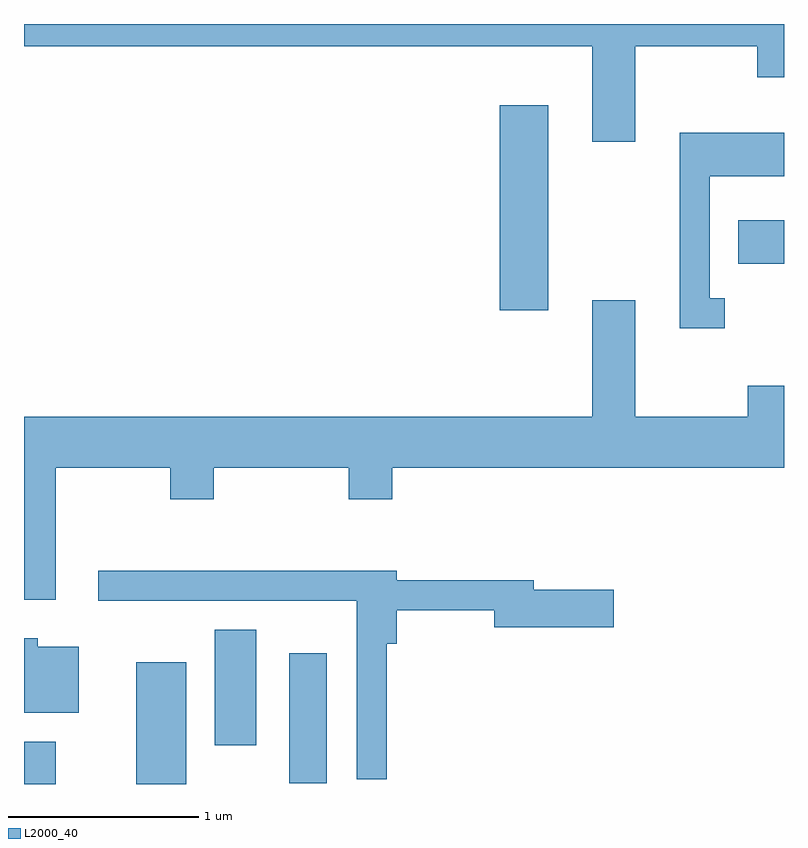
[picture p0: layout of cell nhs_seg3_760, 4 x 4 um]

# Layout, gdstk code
import gdstk
lib = gdstk.Library(unit=1e-6, precision=1e-09)
def R(c, l, rs):  # rectangles x0, y0, x1, y1
    for r in rs: c.add(gdstk.rectangle(r[:2], r[2:], *l))
def P(c, l, *ps):  # polygons
    for p in ps: c.add(gdstk.Polygon(p, *l))
L2000_40 = (2000, 40)

nhs_seg3_760 = lib.new_cell('nhs_seg3_760')
R(nhs_seg3_760, L2000_40, [(207.611,1139.892,207.779,1140.114), (208.201,1139.892,208.464,1140.534), (209.006,1139.896,209.204,1140.579), (208.616,1140.096,208.834,1140.704), (210.116,1142.386,210.369,1143.464), (211.371,1142.631,211.611,1142.859)])
P(nhs_seg3_760, L2000_40, [(210.829,1143.776),(211.471,1143.776),(211.471,1143.611),(211.611,1143.611),(211.611,1143.892),(207.611,1143.892),(207.611,1143.776),(210.601,1143.776),(210.601,1143.271),(210.829,1143.271)],
  [(211.298,1142.449),(211.219,1142.449),(211.219,1143.091),(211.611,1143.091),(211.611,1143.319),(211.061,1143.319),(211.061,1142.291),(211.298,1142.291)],
  [(207.779,1141.556),(208.381,1141.556),(208.381,1141.391),(208.609,1141.391),(208.609,1141.556),(209.321,1141.556),(209.321,1141.391),(209.549,1141.391),(209.549,1141.556),(211.611,1141.556),(211.611,1141.989),(211.421,1141.989),(211.421,1141.824),(210.829,1141.824),(210.829,1142.439),(210.601,1142.439),(210.601,1141.824),(207.611,1141.824),(207.611,1140.861),(207.779,1140.861)],
  [(209.519,1140.631),(209.574,1140.631),(209.574,1140.806),(210.086,1140.806),(210.086,1140.716),(210.714,1140.716),(210.714,1140.914),(210.294,1140.914),(210.294,1140.964),(209.574,1140.964),(209.574,1141.014),(208.003,1141.014),(208.003,1140.856),(209.361,1140.856),(209.361,1139.918),(209.519,1139.918)],
  [(207.899,1140.614),(207.684,1140.614),(207.684,1140.659),(207.611,1140.659),(207.611,1140.266),(207.899,1140.266)])

lib.write_gds('nhs_seg3_760.gds')
